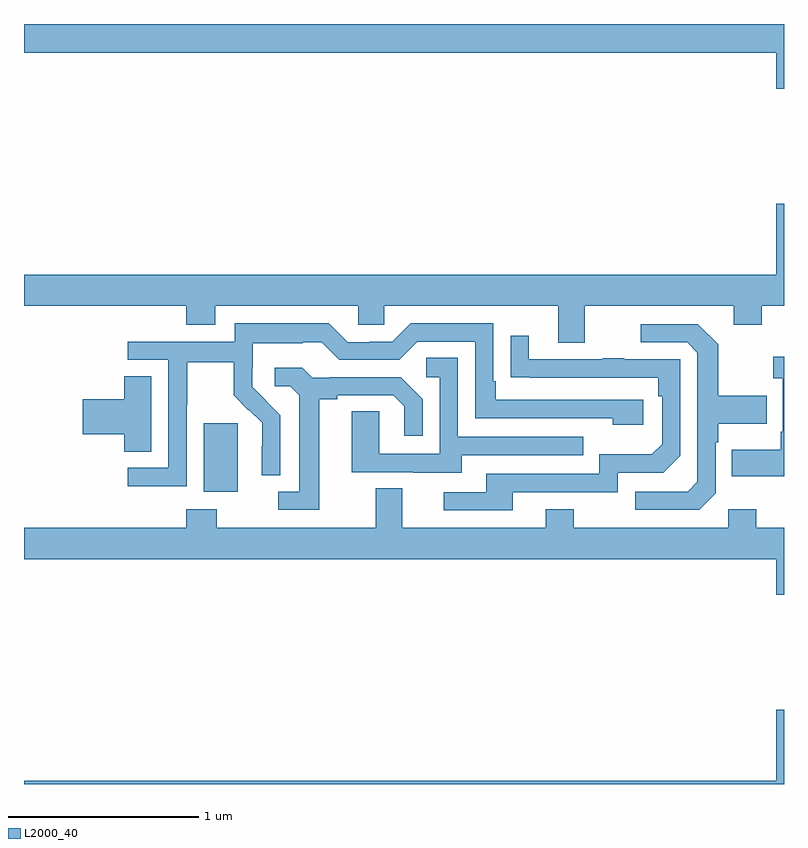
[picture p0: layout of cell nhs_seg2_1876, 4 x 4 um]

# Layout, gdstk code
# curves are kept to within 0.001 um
import gdstk
lib = gdstk.Library(unit=1e-6, precision=1e-09)
def R(c, l, rs):  # rectangles x0, y0, x1, y1
    for r in rs: c.add(gdstk.rectangle(r[:2], r[2:], *l))
def P(c, l, *ps):  # polygons
    for p in ps: c.add(gdstk.Polygon(p, *l))
L2000_40 = (2000, 40)

nhs_seg2_1876 = lib.new_cell('nhs_seg2_1876')
R(nhs_seg2_1876, L2000_40, [(209.945,633.338,210.124,633.699)])
P(nhs_seg2_1876, L2000_40, [(213,635.8),(209,635.8),(209,635.648),(212.96,635.648),(212.96,635.46),(213,635.46)],
  [(211.951,634.316),(212.735,634.316),(212.735,634.217),(212.883,634.217),(212.883,634.316),(213,634.316),(213,634.855),(212.96,634.855),(212.96,634.48),(209,634.48),(209,634.316),(209.855,634.316),(209.855,634.217),(210.007,634.217),(210.007,634.316),(210.759,634.316),(210.759,634.218),(210.897,634.218),(210.897,634.316),(211.811,634.316),(211.811,634.122),(211.951,634.122)],
  [(209.856,633.796),(209.859,633.796),(209.859,634.02),(210.103,634.02),(210.103,633.845),(210.18,633.768),(210.183,633.771),(210.254,633.701),(210.254,633.578),(210.252,633.578),(210.252,633.424),(210.348,633.424),(210.348,633.742),(210.202,633.89),(210.202,633.987),(210.204,633.987),(210.204,634.121),(210.467,634.121),(210.467,634.125),(210.567,634.125),(210.66,634.032),(210.975,634.032),(211.071,634.128),(211.374,634.128),(211.374,633.726),(212.099,633.726),(212.099,633.692),(212.26,633.692),(212.26,633.822),(211.483,633.822),(211.483,633.919),(211.47,633.919),(211.47,634.224),(211.035,634.224),(210.939,634.128),(210.821,634.128),(210.821,634.125),(210.705,634.125),(210.605,634.225),(210.108,634.225),(210.108,634.128),(209.547,634.128),(209.547,634.032),(209.76,634.032),(209.76,633.465),(209.547,633.465),(209.547,633.367),(209.856,633.367)],
  [(212.64,633.33),(212.64,633.599),(212.653,633.599),(212.653,633.695),(212.909,633.695),(212.909,633.843),(212.653,633.843),(212.653,634.115),(212.547,634.221),(212.247,634.221),(212.247,634.125),(212.49,634.125),(212.544,634.071),(212.544,633.39),(212.493,633.339),(212.217,633.339),(212.217,633.243),(212.553,633.243)],
  [(211.573,633.336),(212.124,633.336),(212.124,633.438),(212.364,633.438),(212.454,633.528),(212.454,634.035),(212.159,634.035),(212.159,634.04),(212.047,634.04),(212.047,634.035),(211.657,634.035),(211.657,634.159),(211.561,634.159),(211.561,633.94),(212.338,633.939),(212.338,633.842),(212.358,633.842),(212.358,633.588),(212.305,633.535),(212.028,633.535),(212.028,633.432),(211.433,633.432),(211.433,633.336),(211.209,633.336),(211.209,633.24),(211.573,633.24)],
  [(213,634.048),(212.943,634.048),(212.943,633.935),(212.994,633.935),(212.994,633.655),(212.982,633.655),(212.982,633.559),(212.725,633.559),(212.725,633.419),(213,633.419)],
  [(211.303,633.531),(211.943,633.531),(211.943,633.627),(211.284,633.627),(211.284,634.043),(211.116,634.043),(211.116,633.942),(211.188,633.942),(211.188,633.537),(210.87,633.537),(210.87,633.761),(210.725,633.761),(210.725,633.441),(211.049,633.441),(211.049,633.437),(211.303,633.437)],
  [(210.553,633.824),(210.649,633.824),(210.649,633.846),(210.944,633.846),(211.001,633.789),(211.001,633.633),(211.098,633.633),(211.098,633.826),(210.982,633.942),(210.61,633.942),(210.61,633.939),(210.516,633.939),(210.464,633.991),(210.321,633.991),(210.321,633.894),(210.402,633.894),(210.449,633.847),(210.449,633.339),(210.339,633.339),(210.339,633.243),(210.553,633.243)],
  [(209.671,633.947),(209.528,633.947),(209.528,633.824),(209.31,633.824),(209.31,633.641),(209.528,633.641),(209.528,633.55),(209.671,633.55)],
  [(211.745,633.247),(211.745,633.148),(210.991,633.148),(210.991,633.356),(210.851,633.356),(210.851,633.148),(210.015,633.148),(210.015,633.247),(209.855,633.247),(209.855,633.148),(209,633.148),(209,632.984),(212.96,632.984),(212.96,632.796),(213,632.796),(213,633.148),(212.853,633.148),(212.853,633.247),(212.706,633.247),(212.706,633.148),(211.893,633.148),(211.893,633.247)],
  [(213,632.191),(212.96,632.191),(212.96,631.816),(209,631.816),(209,631.8),(213,631.8)])

lib.write_gds('nhs_seg2_1876.gds')
